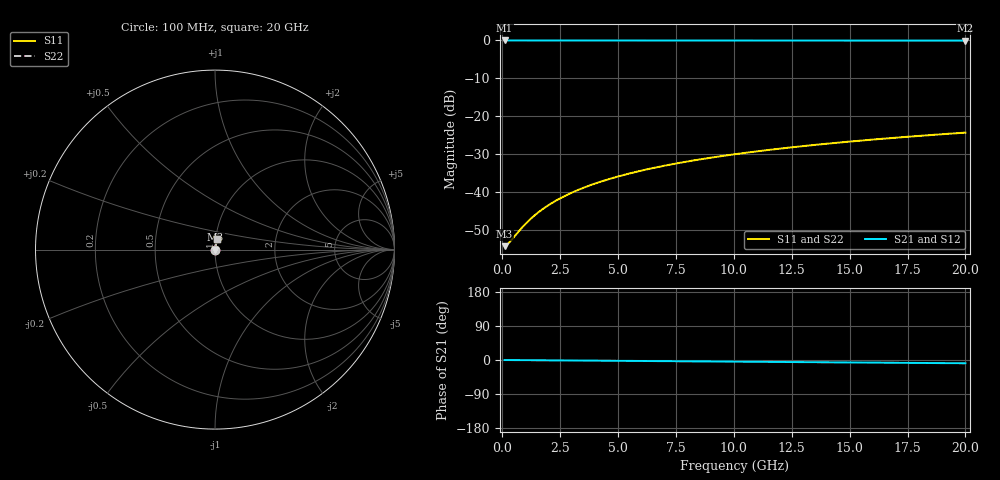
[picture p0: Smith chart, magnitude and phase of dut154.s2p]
! Touchstone file exported from HFSS 2026.1.0
!  File:  C:/ffzhzh/LocalFiles/Ansys_Project_Files/temp_train_TSV_154_1782990662_40604.aedt
!  Generated:  07:13:23 PM Jul  2, 2026
!  Design:  TSV
!  Project:  temp_train_TSV_154_1782990662_40604
! Variables:
!  h_bsmrdl = 2um
!  h_ox = 20um
!  h_rdl = 5um
!  h_sub = 85.13um
!  h_tmrdl = 5um
!  h_tsv = 85.13um
!  h_via = 3um
!  l_bsmrdl = 300um
!  l_sub = 404.54um
!  l_tmrdl = 200um
!  m_sub = 200um
!  pitch = 18.03um
!  r_tsv = 2.27um
!  s_tmrdl = 10um
!  w_bsmrdl = 18um
!  w_sub = 500um
!  w_tmrdl = 12um
!  x_tsv_center1 = 206um
!  x_tsv_center2 = 524um
!  x_tsv_center3 = 736um
!  x_tsv_center4 = 1054um
!  x_tsv_center5 = 1266um
!  x_tsv_center6 = 1584um
# GHz S MA R 50.000000
! Terminal data exported
! Port[1] = TSV1_1_T1
! Port[2] = TSV1_1_T2
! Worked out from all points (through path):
!   200 points, 100 MHz to 20 GHz, reference 50 ohm
!   highest |S21| = -0.02 dB at 100 MHz (marker M1); lowest = -0.1 dB at 20 GHz (marker M2)
!   group delay of S21, straight-line fit = 1.2 ps
!   lowest |S11| = -54.3 dB at 100 MHz (marker M3), VSWR 1.00, Z = 50.2 + j0.0331 ohm
!   |S11| at or under -10 dB: start of sweep to end of sweep
!   |S22| runs from -54.3 to -24.3 dB; largest |S21 - S12| = 2.4e-15
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0.1  0.001925 9.9  0.9981 -0.0  0.9981 -0.0  0.001925 9.9
! Gamma 0 0 0 0
! Port Impedance 50 0 50 0
0.2  0.002014 19.1  0.9981 -0.1  0.9981 -0.1  0.002014 19.1
0.3  0.002151 27.3  0.9981 -0.1  0.9981 -0.1  0.002151 27.3
0.8  0.003252 52.6  0.998 -0.4  0.998 -0.4  0.003252 52.6
1.1  0.004063 60.3  0.998 -0.5  0.998 -0.5  0.004063 60.3
1.4  0.004921 65.4  0.998 -0.6  0.998 -0.6  0.004921 65.4
1.7  0.005806 68.9  0.998 -0.8  0.998 -0.8  0.005806 68.9
2.1  0.007013 72.1  0.9979 -0.9  0.9979 -0.9  0.007013 72.1
2.5  0.008237 74.3  0.9979 -1.1  0.9979 -1.1  0.008237 74.3
3  0.00978 76.2  0.9978 -1.3  0.9978 -1.3  0.00978 76.2
3.5  0.01133 77.5  0.9978 -1.5  0.9978 -1.5  0.01133 77.5
4.2  0.01351 78.7  0.9977 -1.8  0.9977 -1.8  0.01351 78.7
5  0.016 79.5  0.9976 -2.2  0.9976 -2.2  0.016 79.5
5.9  0.01879 80.0  0.9974 -2.6  0.9974 -2.6  0.01879 80.0
6.8  0.02157 80.2  0.9972 -3.0  0.9972 -3.0  0.02157 80.2
8.3  0.02618 80.2  0.9969 -3.6  0.9969 -3.6  0.02618 80.2
10.1  0.03164 80.0  0.9964 -4.4  0.9964 -4.4  0.03164 80.0
11.7  0.03644 79.6  0.996 -5.1  0.996 -5.1  0.03644 79.6
13.4  0.04149 79.1  0.9955 -5.8  0.9955 -5.8  0.04149 79.1
15  0.04619 78.7  0.995 -6.5  0.995 -6.5  0.04619 78.7
16.7  0.05115 78.1  0.9945 -7.2  0.9945 -7.2  0.05115 78.1
20  0.06067 77.0  0.9935 -8.6  0.9935 -8.6  0.06067 77.0
